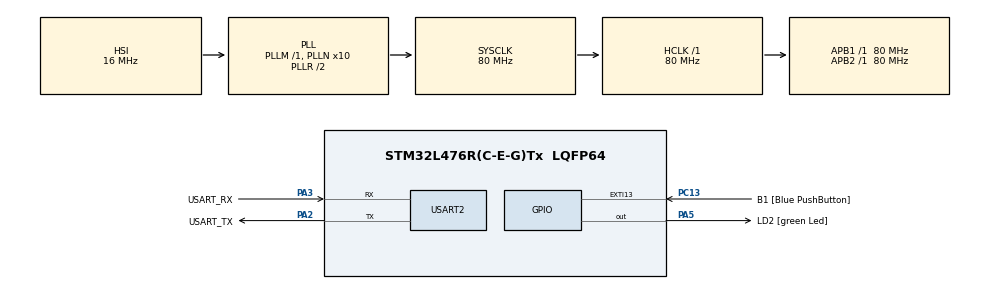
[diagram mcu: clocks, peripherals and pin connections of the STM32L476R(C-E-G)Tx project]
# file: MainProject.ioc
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Mcu.Family=STM32L4
Mcu.Name=STM32L476R(C-E-G)Tx
Mcu.Package=LQFP64
NVIC.PriorityGroup=NVIC_PRIORITYGROUP_4
NVIC.USART2_IRQn=true\:0\:0\:false\:false\:true\:true\:true\:true
PA13\ (JTMS-SWDIO).GPIO_Label=TMS
PA13\ (JTMS-SWDIO).Mode=Serial_Wire
PA13\ (JTMS-SWDIO).Signal=SYS_JTMS-SWDIO
PA14\ (JTCK-SWCLK).GPIO_Label=TCK
PA14\ (JTCK-SWCLK).Mode=Serial_Wire
PA14\ (JTCK-SWCLK).Signal=SYS_JTCK-SWCLK
PA2.GPIO_Label=USART_TX
PA2.GPIO_Mode=GPIO_MODE_AF_PP
PA2.GPIO_PuPd=GPIO_NOPULL
PA2.GPIO_Speed=GPIO_SPEED_FREQ_VERY_HIGH
PA2.Mode=Asynchronous
PA2.Signal=USART2_TX
PA3.GPIO_Label=USART_RX
PA3.GPIO_Mode=GPIO_MODE_AF_PP
PA3.GPIO_PuPd=GPIO_NOPULL
PA3.GPIO_Speed=GPIO_SPEED_FREQ_VERY_HIGH
PA3.Mode=Asynchronous
PA3.Signal=USART2_RX
PA5.GPIO_Label=LD2 [green Led]
PA5.GPIO_ModeDefaultOutputPP=GPIO_MODE_OUTPUT_PP
PA5.GPIO_PuPd=GPIO_NOPULL
PA5.GPIO_Speed=GPIO_SPEED_FREQ_LOW
PA5.Signal=GPIO_Output
PB3\ (JTDO-TRACESWO).GPIO_Label=SWO
PB3\ (JTDO-TRACESWO).Signal=SYS_JTDO-SWO
PC13.GPIO_Label=B1 [Blue PushButton]
PC13.GPIO_ModeDefaultEXTI=GPIO_MODE_IT_FALLING
PC13.GPIO_PuPd=GPIO_NOPULL
PC13.Signal=GPXTI13
PC14-OSC32_IN\ (PC14).Mode=LSE-External-Oscillator
PC14-OSC32_IN\ (PC14).Signal=RCC_OSC32_IN
PC15-OSC32_OUT\ (PC15).Mode=LSE-External-Oscillator
PC15-OSC32_OUT\ (PC15).Signal=RCC_OSC32_OUT
PH0-OSC_IN\ (PH0).Signal=RCC_OSC_IN
PH1-OSC_OUT\ (PH1).Signal=RCC_OSC_OUT
ProjectManager.HeapSize=0x200
ProjectManager.StackSize=0x400
ProjectManager.TargetToolchain=STM32CubeIDE
RCC.ADCFreq_Value=64000000
RCC.AHBFreq_Value=80000000
RCC.APB1Freq_Value=80000000
RCC.APB1TimFreq_Value=80000000
RCC.APB2Freq_Value=80000000
RCC.APB2TimFreq_Value=80000000
RCC.CortexFreq_Value=80000000
RCC.HCLKFreq_Value=80000000
RCC.HSE_VALUE=8000000
RCC.HSI_VALUE=16000000
RCC.MSI_VALUE=4000000
RCC.PLLN=10
RCC.PLLSourceVirtual=RCC_PLLSOURCE_HSI
RCC.PREFETCH_ENABLE=1
RCC.SYSCLKFreq_VALUE=80000000
RCC.SYSCLKSource=RCC_SYSCLKSOURCE_PLLCLK
RCC.USBFreq_Value=64000000
RCC.VCOOutputFreq_Value=160000000
TIM6.Period=4999
TIM6.Prescaler=7999
USART2.VirtualMode-Asynchronous=VM_ASYNC
VP_TIM6_VS_ClockSourceINT.Mode=Enable_Timer
board=NUCLEO-L476RG

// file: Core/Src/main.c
/* USER CODE BEGIN Header */
/**
  ******************************************************************************
  * @file           : main.c
  * @brief          : Main program body
  ******************************************************************************
  * @attention
  *
  * Copyright (c) 2022 STMicroelectronics.
  * All rights reserved.
  *
  * This software is licensed under terms that can be found in the LICENSE file
  * in the root directory of this software component.
  * If no LICENSE file comes with this software, it is provided AS-IS.
  *
  ******************************************************************************
  */
/* USER CODE END Header */
#include "main.h"

/* USER CODE BEGIN Includes */
#include <stdio.h>
#include <string.h>
#include "ringbuffer.h"

/* USER CODE END Includes */

 TIM_HandleTypeDef htim6;

UART_HandleTypeDef huart2;

void SystemClock_Config(void);
static void MX_GPIO_Init(void);
static void MX_USART2_UART_Init(void);
static void MX_TIM6_Init(void);
/* USER CODE BEGIN PFP */
#define PUTCHAR_PROTOTYPE int __io_putchar(int ch)
/* USER CODE END PFP */

/* USER CODE BEGIN 0 */

RingBuffer txrb;
RingBuffer rxrb;

#define WELCOME_MSG "Welcome from STM32\n\r\n\r"
#define MAIN_MENU "Available Options:\n\r"
#define OPTION1 "1. Start LED blinking\n\r"
#define OPTION2 "2. Stop LED blinking\n\r"
#define PROMPT "Select Option >\n\r"

int UART_Transmit(UART_HandleTypeDef *huart, uint8_t *pData, size_t len)
{
	if (HAL_UART_Transmit_IT(huart, pData, len) != HAL_OK) {
		if (!RingBuffer_Write(&txrb, pData, len)) {
			return 0;
		}
	}
	return 1;
}

void HAL_UART_TxCpltCallback(UART_HandleTypeDef *huart) {

	/*
	uint8_t txData;
	if (!RingBuffer_IsEmpty(&txrb)) {
		RingBuffer_Read(&txrb, &txData, 1);
		HAL_UART_Transmit_IT(huart, &txData, 1);
	}
	*/
}

void printMessages(void) {
	HAL_UART_Transmit_IT(&huart2, (uint8_t*)WELCOME_MSG, strlen(WELCOME_MSG));
	HAL_UART_Transmit_IT(&huart2, (uint8_t*)MAIN_MENU, strlen(MAIN_MENU));
	HAL_UART_Transmit_IT(&huart2, (uint8_t*)OPTION1, strlen(OPTION1));
	HAL_UART_Transmit_IT(&huart2, (uint8_t*)OPTION2, strlen(OPTION2));
	HAL_UART_Transmit_IT(&huart2, (uint8_t*)PROMPT, strlen(PROMPT));
}

void printMessages2(void) {
	UART_Transmit(&huart2, (uint8_t*)WELCOME_MSG, strlen(WELCOME_MSG));
	UART_Transmit(&huart2, (uint8_t*)MAIN_MENU, strlen(MAIN_MENU));
	UART_Transmit(&huart2, (uint8_t*)OPTION1, strlen(OPTION1));
	UART_Transmit(&huart2, (uint8_t*)OPTION2, strlen(OPTION2));
	UART_Transmit(&huart2, (uint8_t*)PROMPT, strlen(PROMPT));
}

/////////////////////////////////////////////////////////////////////////
// Led task definitions and functions
/////////////////////////////////////////////////////////////////////////

enum LedTaskState
{
	LedOn,
	LedOff,
};

enum LedTaskState ledState;
int ledCount;
int ledMaxCount;

void ledTask()
{
	if (ledState == LedOn)
	{
		if (ledCount++ >= ledMaxCount)
		{
			HAL_GPIO_TogglePin(LD2_GPIO_Port, LD2_Pin);
			ledCount = 0;
		}
	}
	else if (ledState == LedOff)
	{
		//HAL_GPIO_WritePin(LD2_GPIO_Port, LD2_Pin, 0);
	}
}

void ledStart(int maxCount)
{
	ledState = LedOn;
	ledMaxCount = maxCount;
}

void ledStop()
{
	ledState = LedOff;
	HAL_GPIO_WritePin(LD2_GPIO_Port, LD2_Pin, 0);
}

/////////////////////////////////////////////////////////////////////////
// Communication task definitions and functions
/////////////////////////////////////////////////////////////////////////

#define MAX_BUFFER_LENGTH 100

uint8_t cmdbuffer[MAX_BUFFER_LENGTH];
int cmdcount = 0;
int cmdprint = 0;
uint8_t ch;

int Communication_commTask()
{
	//uint8_t ch;

	HAL_StatusTypeDef Status = HAL_UART_Receive(&huart2, &ch, 1, 10);
	if (Status != HAL_OK)
	{
		if ((huart2.Instance->ISR & USART_ISR_ORE) != 0)
		{
			__HAL_UART_CLEAR_OREFLAG(&huart2);
		}

		// here we have a time to print the command
		while (cmdprint < cmdcount)
		{
			HAL_UART_Transmit(&huart2, &cmdbuffer[cmdprint++], 1, 0xFFFF);
		}

		return 0;
	}

	if (ch != '\r' && ch != '\n')
	{
		//HAL_UART_Transmit(&huart2, &ch, 1, 0xFFFF);

		if (cmdcount >= MAX_BUFFER_LENGTH)
		{
			cmdcount = 0;
			cmdprint = 0;
		}

		cmdbuffer[cmdcount++] = ch;
		return 0;
	}

	// here we have a time to print the command
	while (cmdprint < cmdcount)
	{
		HAL_UART_Transmit(&huart2, &cmdbuffer[cmdprint++], 1, 0xFFFF);
	}

	HAL_UART_Transmit(&huart2, (uint8_t*)"\r\n", 2, 0xFFFF);

	cmdbuffer[cmdcount] = 0;
	cmdcount = 0;
	cmdprint = 0;
	return 1;
}

void Communication_handleCommand()
{
  char cmd[20];
  int maxCount;

  int params = sscanf((const char*)cmdbuffer, "%s %d", cmd, &maxCount);

  if (params == 0)
  {
	  return;
  }

  if (strcmp(cmd, "start") == 0)
  {
	  //ledStart(maxCount);
  }
  else if (strcmp(cmd, "stop") == 0)
  {
	  //ledStop();
  }
  else
  {
	  printf("Invalid command\r\n");
  }
}

/////////////////////////////////////////////////////////////////////////
// Redirecting printf to UART
/////////////////////////////////////////////////////////////////////////
int _write(int fd, char* ptr, int len) {
    //HAL_UART_Transmit(&huart2, (uint8_t *) ptr, len, HAL_MAX_DELAY);
	UART_Transmit(&huart2, (uint8_t *) ptr, len);
    return len;
}

/* USER CODE END 0 */

int main(void)
{

  /* MCU Configuration--------------------------------------------------------*/

  /* Reset of all peripherals, Initializes the Flash interface and the Systick. */
  HAL_Init();

  /* Configure the system clock */
  SystemClock_Config();

  /* Initialize all configured peripherals */
  MX_GPIO_Init();
  MX_USART2_UART_Init();
  MX_TIM6_Init();
  /* USER CODE BEGIN 2 */
  RingBuffer_Init(&txrb);
  RingBuffer_Init(&rxrb);

  printMessages2();

  //
  // start communication be receiving one byte
  /*HAL_StatusTypeDef Status = */ HAL_UART_Receive_IT(&huart2, &ch, 1);

  /* USER CODE END 2 */

  /* Infinite loop */
  while (1)
  {

    /* USER CODE BEGIN 3 */
	  ledTask();
	  if (Communication_commTask())
	  {
		  Communication_handleCommand();
	  }
  }
  /* USER CODE END 3 */
}

void SystemClock_Config(void)
{
  RCC_OscInitTypeDef RCC_OscInitStruct = {0};
  RCC_ClkInitTypeDef RCC_ClkInitStruct = {0};

  /** Configure the main internal regulator output voltage
  */
  if (HAL_PWREx_ControlVoltageScaling(PWR_REGULATOR_VOLTAGE_SCALE1) != HAL_OK)
  {
    Error_Handler();
  }

  /** Initializes the RCC Oscillators according to the specified parameters
  * in the RCC_OscInitTypeDef structure.
  */
  RCC_OscInitStruct.OscillatorType = RCC_OSCILLATORTYPE_HSI;
  RCC_OscInitStruct.HSIState = RCC_HSI_ON;
  RCC_OscInitStruct.HSICalibrationValue = RCC_HSICALIBRATION_DEFAULT;
  RCC_OscInitStruct.PLL.PLLState = RCC_PLL_ON;
  RCC_OscInitStruct.PLL.PLLSource = RCC_PLLSOURCE_HSI;
  RCC_OscInitStruct.PLL.PLLM = 1;
  RCC_OscInitStruct.PLL.PLLN = 10;
  RCC_OscInitStruct.PLL.PLLP = RCC_PLLP_DIV7;
  RCC_OscInitStruct.PLL.PLLQ = RCC_PLLQ_DIV2;
  RCC_OscInitStruct.PLL.PLLR = RCC_PLLR_DIV2;
  if (HAL_RCC_OscConfig(&RCC_OscInitStruct) != HAL_OK)
  {
    Error_Handler();
  }

  /** Initializes the CPU, AHB and APB buses clocks
  */
  RCC_ClkInitStruct.ClockType = RCC_CLOCKTYPE_HCLK|RCC_CLOCKTYPE_SYSCLK
                              |RCC_CLOCKTYPE_PCLK1|RCC_CLOCKTYPE_PCLK2;
  RCC_ClkInitStruct.SYSCLKSource = RCC_SYSCLKSOURCE_PLLCLK;
  RCC_ClkInitStruct.AHBCLKDivider = RCC_SYSCLK_DIV1;
  RCC_ClkInitStruct.APB1CLKDivider = RCC_HCLK_DIV1;
  RCC_ClkInitStruct.APB2CLKDivider = RCC_HCLK_DIV1;

  if (HAL_RCC_ClockConfig(&RCC_ClkInitStruct, FLASH_LATENCY_4) != HAL_OK)
  {
    Error_Handler();
  }
}

static void MX_TIM6_Init(void)
{

  TIM_MasterConfigTypeDef sMasterConfig = {0};

  htim6.Instance = TIM6;
  htim6.Init.Prescaler = 7999;
  htim6.Init.CounterMode = TIM_COUNTERMODE_UP;
  htim6.Init.Period = 4999;
  htim6.Init.AutoReloadPreload = TIM_AUTORELOAD_PRELOAD_DISABLE;
  if (HAL_TIM_Base_Init(&htim6) != HAL_OK)
  {
    Error_Handler();
  }
  sMasterConfig.MasterOutputTrigger = TIM_TRGO_RESET;
  sMasterConfig.MasterSlaveMode = TIM_MASTERSLAVEMODE_DISABLE;
  if (HAL_TIMEx_MasterConfigSynchronization(&htim6, &sMasterConfig) != HAL_OK)
  {
    Error_Handler();
  }

}

static void MX_USART2_UART_Init(void)
{

  huart2.Instance = USART2;
  huart2.Init.BaudRate = 115200;
  huart2.Init.WordLength = UART_WORDLENGTH_8B;
  huart2.Init.StopBits = UART_STOPBITS_1;
  huart2.Init.Parity = UART_PARITY_NONE;
  huart2.Init.Mode = UART_MODE_TX_RX;
  huart2.Init.HwFlowCtl = UART_HWCONTROL_NONE;
  huart2.Init.OverSampling = UART_OVERSAMPLING_16;
  huart2.Init.OneBitSampling = UART_ONE_BIT_SAMPLE_DISABLE;
  huart2.AdvancedInit.AdvFeatureInit = UART_ADVFEATURE_NO_INIT;
  if (HAL_UART_Init(&huart2) != HAL_OK)
  {
    Error_Handler();
  }

}

static void MX_GPIO_Init(void)
{
  GPIO_InitTypeDef GPIO_InitStruct = {0};

  /* GPIO Ports Clock Enable */
  __HAL_RCC_GPIOC_CLK_ENABLE();
  __HAL_RCC_GPIOH_CLK_ENABLE();
  __HAL_RCC_GPIOA_CLK_ENABLE();
  __HAL_RCC_GPIOB_CLK_ENABLE();

  /*Configure GPIO pin Output Level */
  HAL_GPIO_WritePin(LD2_GPIO_Port, LD2_Pin, GPIO_PIN_RESET);

  /*Configure GPIO pin : B1_Pin */
  GPIO_InitStruct.Pin = B1_Pin;
  GPIO_InitStruct.Mode = GPIO_MODE_IT_FALLING;
  GPIO_InitStruct.Pull = GPIO_NOPULL;
  HAL_GPIO_Init(B1_GPIO_Port, &GPIO_InitStruct);

  /*Configure GPIO pin : LD2_Pin */
  GPIO_InitStruct.Pin = LD2_Pin;
  GPIO_InitStruct.Mode = GPIO_MODE_OUTPUT_PP;
  GPIO_InitStruct.Pull = GPIO_NOPULL;
  GPIO_InitStruct.Speed = GPIO_SPEED_FREQ_LOW;
  HAL_GPIO_Init(LD2_GPIO_Port, &GPIO_InitStruct);

}

/* USER CODE BEGIN 4 */
PUTCHAR_PROTOTYPE
{
  /* Place your implementation of fputc here */
  /* e.g. write a character to the USART1 and Loop until the end of transmission */
  HAL_UART_Transmit(&huart2, (uint8_t *)&ch, 1, 0xFFFF);

  return ch;
}
/* USER CODE END 4 */

void Error_Handler(void)
{
  __disable_irq();
  while (1)
  {
  }
}
